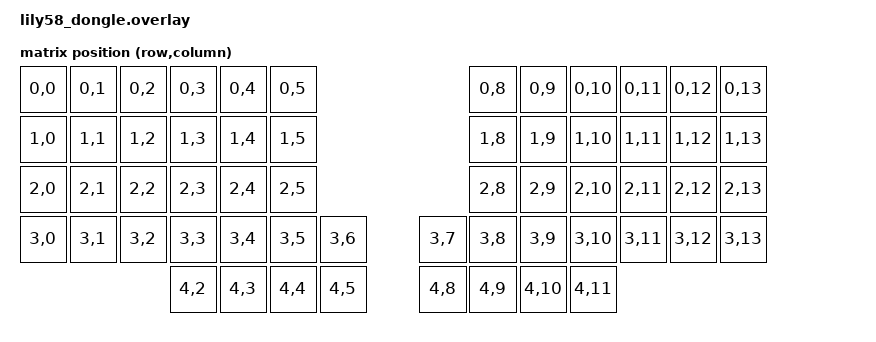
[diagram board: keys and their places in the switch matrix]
#include <dt-bindings/zmk/matrix_transform.h>

/ {
    chosen {
        zmk,matrix_transform = &default_transform;
    };

    /*
     * Full 58-key matrix transform matching the upstream lily58 shield layout.
     *
     * Peripheral 0 (left half):  29 keys → global positions  0-28
     * Peripheral 1 (right half): 29 keys → global positions 29-57
     *
     * Column layout: 0-5 = left main, 6-7 = inner row-3 keys, 8-13 = right main
     * Row 4 thumb:   cols 2-5 = left thumb, cols 8-11 = right thumb
     *
     * No zmk,kscan chosen: dongle has no physical keys; all input comes
     * from the two BLE peripherals.
     */
    default_transform: keymap_transform_0 {
        compatible = "zmk,matrix-transform";
        columns = <14>;
        rows = <5>;
        map = <
            RC(0,0)  RC(0,1)  RC(0,2)  RC(0,3)  RC(0,4)  RC(0,5)                                                   RC(0,8)  RC(0,9)  RC(0,10) RC(0,11) RC(0,12) RC(0,13)
            RC(1,0)  RC(1,1)  RC(1,2)  RC(1,3)  RC(1,4)  RC(1,5)                                                   RC(1,8)  RC(1,9)  RC(1,10) RC(1,11) RC(1,12) RC(1,13)
            RC(2,0)  RC(2,1)  RC(2,2)  RC(2,3)  RC(2,4)  RC(2,5)                                                   RC(2,8)  RC(2,9)  RC(2,10) RC(2,11) RC(2,12) RC(2,13)
            RC(3,0)  RC(3,1)  RC(3,2)  RC(3,3)  RC(3,4)  RC(3,5)  RC(3,6)  RC(3,7)  RC(3,8)  RC(3,9)  RC(3,10) RC(3,11) RC(3,12) RC(3,13)
            RC(4,2)  RC(4,3)  RC(4,4)  RC(4,5)                              RC(4,8)  RC(4,9)  RC(4,10) RC(4,11)
        >;
    };
};
